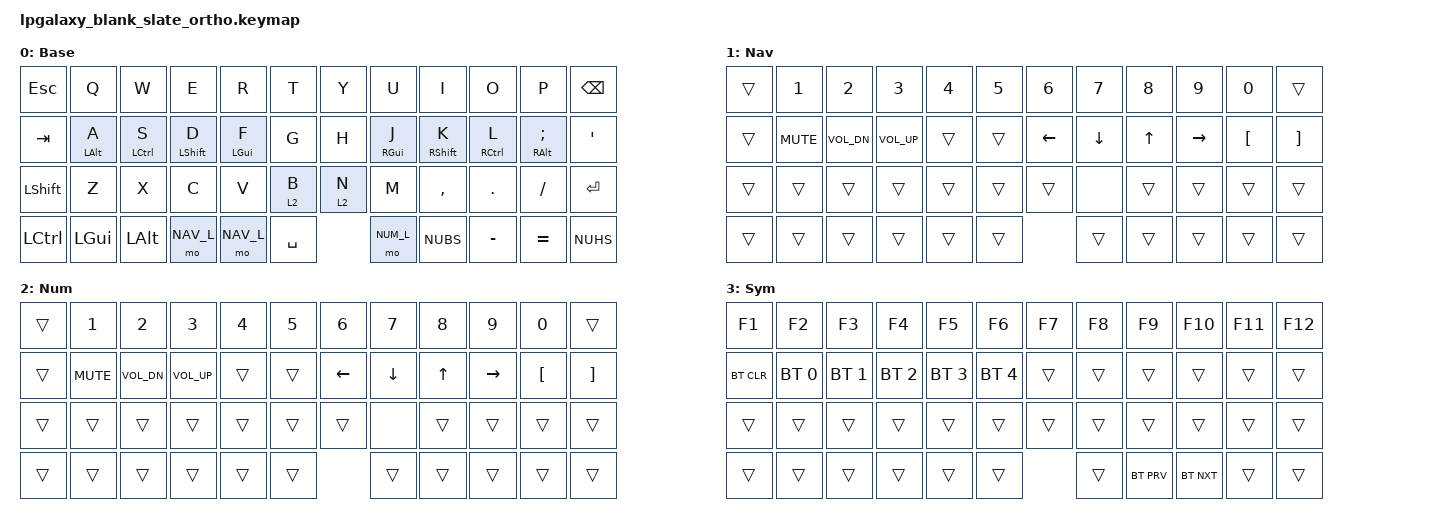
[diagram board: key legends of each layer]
/*
 * Copyright (c) 2022 Pete Johanson
 *
 * SPDX-License-Identifier: MIT
 */

#include <behaviors.dtsi>
#include <dt-bindings/zmk/keys.h>
#include <dt-bindings/zmk/bt.h>
#include <dt-bindings/zmk/outputs.h>

#define QWERTY_BASE 1

//#define TBLE_ORTHO   1
 #define TBLE_MIT     1
// #define TBLE_DUAL_2U 1

#define NAV_L 1
#define NUM_L 2
#define SYM_L 3

// Using layer taps on thumbs, having quick tap as well helps w/ repeating space/backspace
&lt { flavor = "tap-preferred";
	tapping-term-ms = <400>;
	quick_tap_ms = <400>; };
&mt { flavor = "tap-preferred";
	tapping-term-ms = <400>;
	quick-tap-ms = <400>; };

#define BT(n) BT_SEL n


/ {
    chosen {
       zmk,physical-layout =
#ifdef TBLE_DUAL_2U
                       &layout_ortho_4x12_2x2u;
#elif defined(TBLE_MIT)
                       &layout_ortho_4x12_1x2u;
#else
                       &layout_ortho_4x12_all1u;
#endif
    };


    macros {
      ZMK_MACRO(thumbs_up,
		wait-ms = <1>;
		tap-ms = <5>;
                bindings = <&kp PLUS &kp COLON &kp PLUS &kp N1 &kp COLON &kp RET>;
		)
    };
    
    tap_dances {
    	shifty: shift_caps_word {
		compatible = "zmk,behavior-tap-dance";
		label = "TD_SHIFTY";
		#binding-cells = <0>;
		tapping-term-ms = <150>;
		bindings = <&kp LSHFT>, <&caps_word>;
	};
    };

// Conditional layer only when we have less thumb keys
#ifdef TBLE_DUAL_2U
    cond_layers {
        compatible = "zmk,conditional-layers";
	tri {
	    if-layers = <NUM_L NAV_L>;
	    then-layer = <SYM_L>;
        };
    };
#endif

    keymap {
        compatible = "zmk,keymap";

        base_layer {
            label = "Base";
            bindings = <
 &kp ESC    &kp Q      &kp W      &kp E       &kp R          &kp T          &kp Y            &kp U          &kp I        &kp O      &kp P         &kp BACKSPACE
 &kp TAB    &mt LALT A      &mt LCTRL S      &mt LSHIFT D       &mt LGUI F          &kp G          &kp H            &mt RGUI J          &mt RSHIFT K        &mt RCTRL L      &mt RALT SEMI      &kp SQT
 &kp LSHIFT  &kp Z      &kp X      &kp C       &kp V          &lt 2 B          &lt 2 N            &kp M          &kp COMMA    &kp DOT    &kp FSLH      &kp RET
 &kp LCTRL  &kp LGUI   &kp LALT   &mo NAV_L   &mo NAV_L            &kp SPACE                 &mo NUM_L      &kp NUBS     &kp MINUS  &kp EQUAL     &kp NUHS
            >;
        };

        nav_layer {
            label = "Nav";
            bindings = <
&trans    &kp N1      &kp N2        &kp N3          &kp N4    &kp N5    &kp N6      &kp N7      &kp N8    &kp N9       &kp N0      &trans
&trans    &kp C_MUTE  &kp C_VOL_DN  &kp C_VOL_UP    &trans    &trans    &kp LEFT    &kp DOWN    &kp UP    &kp RIGHT    &kp LBKT    &kp RBKT
&trans    &trans      &trans        &trans          &trans    &trans    &trans      &none       &trans    &trans       &trans      &trans
&trans    &trans      &trans        &trans          &trans    &trans           &trans           &trans    &trans       &trans      &trans
            >;
        };

        num_layer {
            label = "Num";
            bindings = <
&trans    &kp N1      &kp N2        &kp N3          &kp N4    &kp N5    &kp N6      &kp N7      &kp N8    &kp N9       &kp N0      &trans
&trans    &kp C_MUTE  &kp C_VOL_DN  &kp C_VOL_UP    &trans    &trans    &kp LEFT    &kp DOWN    &kp UP    &kp RIGHT    &kp LBKT    &kp RBKT
&trans    &trans      &trans        &trans          &trans    &trans    &trans      &none       &trans    &trans       &trans      &trans
&trans    &trans      &trans        &trans          &trans    &trans           &trans           &trans    &trans       &trans      &trans
            >;
        };

        sym_layer {
            label = "Sym";
            bindings = <

&kp F1      &kp F2        &kp F3         &kp F4       &kp F5        &kp F6        &kp F7  &kp F8  &kp F9      &kp F10     &kp F11 &kp F12
&bt BT_CLR  &bt BT_SEL 0  &bt BT_SEL 1  &bt BT_SEL 2  &bt BT_SEL 3  &bt BT_SEL 4  &trans  &trans  &trans      &trans      &trans  &trans
&trans      &trans        &trans        &trans        &trans        &trans        &trans  &trans  &trans      &trans      &trans  &trans
&trans &trans        &trans     &trans        &trans                &trans             &trans     &bt BT_PRV  &bt BT_NXT &trans &trans
            >;
        };


    };

    conditional_layers {
        compatible = "zmk,conditional-layers";

        bt {
            if-layers = <1 2>;
            then-layer = <3>;
        };
    };

};

